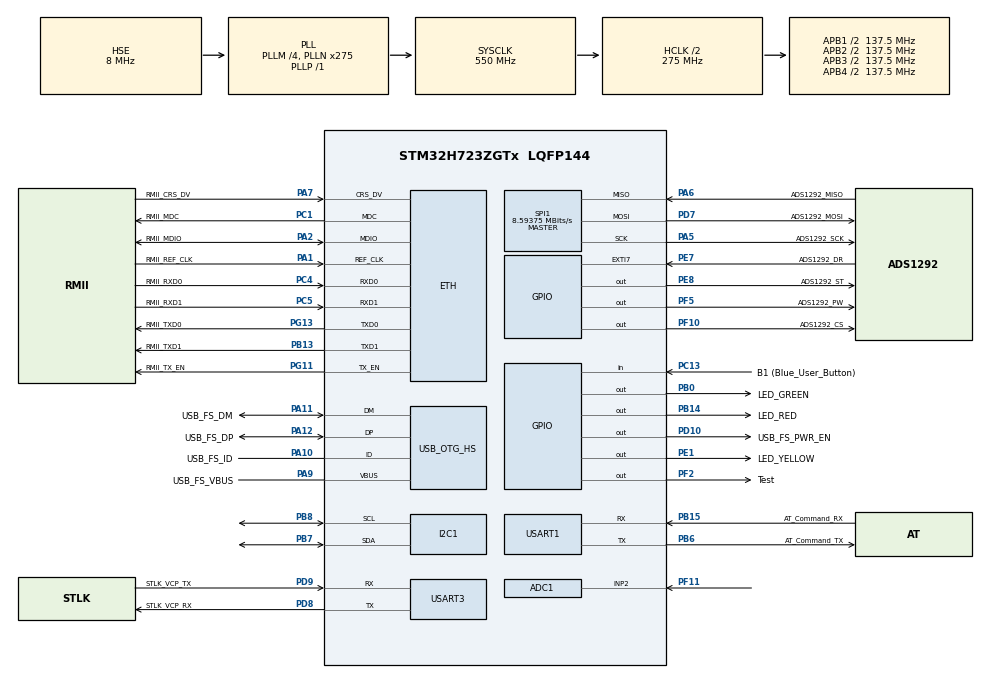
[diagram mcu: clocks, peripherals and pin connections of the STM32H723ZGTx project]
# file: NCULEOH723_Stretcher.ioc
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ADC1.Channel-0\#ChannelRegularConversion=ADC_CHANNEL_2
ADC1.NbrOfConversionFlag=1
ADC1.OffsetNumber-0\#ChannelRegularConversion=ADC_OFFSET_NONE
ADC1.OffsetSignedSaturation-0\#ChannelRegularConversion=DISABLE
ADC1.Rank-0\#ChannelRegularConversion=1
ADC1.SamplingTime-0\#ChannelRegularConversion=ADC_SAMPLETIME_1CYCLE_5
ADC1.master=1
Dma.Request0=SPI1_RX
Dma.Request1=SPI1_TX
Dma.Request2=USART1_TX
Dma.Request3=USART1_RX
Dma.SPI1_RX.0.Direction=DMA_PERIPH_TO_MEMORY
Dma.SPI1_RX.0.EventEnable=DISABLE
Dma.SPI1_RX.0.FIFOMode=DMA_FIFOMODE_DISABLE
Dma.SPI1_RX.0.Instance=DMA1_Stream0
Dma.SPI1_RX.0.MemDataAlignment=DMA_MDATAALIGN_BYTE
Dma.SPI1_RX.0.MemInc=DMA_MINC_ENABLE
Dma.SPI1_RX.0.Mode=DMA_NORMAL
Dma.SPI1_RX.0.PeriphDataAlignment=DMA_PDATAALIGN_BYTE
Dma.SPI1_RX.0.PeriphInc=DMA_PINC_DISABLE
Dma.SPI1_RX.0.Polarity=HAL_DMAMUX_REQ_GEN_RISING
Dma.SPI1_RX.0.Priority=DMA_PRIORITY_LOW
Dma.SPI1_RX.0.RequestNumber=1
Dma.SPI1_RX.0.SignalID=NONE
Dma.SPI1_RX.0.SyncEnable=DISABLE
Dma.SPI1_RX.0.SyncPolarity=HAL_DMAMUX_SYNC_NO_EVENT
Dma.SPI1_RX.0.SyncRequestNumber=1
Dma.SPI1_RX.0.SyncSignalID=NONE
Dma.SPI1_TX.1.Direction=DMA_MEMORY_TO_PERIPH
Dma.SPI1_TX.1.EventEnable=DISABLE
Dma.SPI1_TX.1.FIFOMode=DMA_FIFOMODE_DISABLE
Dma.SPI1_TX.1.Instance=DMA1_Stream1
Dma.SPI1_TX.1.MemDataAlignment=DMA_MDATAALIGN_BYTE
Dma.SPI1_TX.1.MemInc=DMA_MINC_ENABLE
Dma.SPI1_TX.1.Mode=DMA_NORMAL
Dma.SPI1_TX.1.PeriphDataAlignment=DMA_PDATAALIGN_BYTE
Dma.SPI1_TX.1.PeriphInc=DMA_PINC_DISABLE
Dma.SPI1_TX.1.Polarity=HAL_DMAMUX_REQ_GEN_RISING
Dma.SPI1_TX.1.Priority=DMA_PRIORITY_LOW
Dma.SPI1_TX.1.RequestNumber=1
Dma.SPI1_TX.1.SignalID=NONE
Dma.SPI1_TX.1.SyncEnable=DISABLE
Dma.SPI1_TX.1.SyncPolarity=HAL_DMAMUX_SYNC_NO_EVENT
Dma.SPI1_TX.1.SyncRequestNumber=1
Dma.SPI1_TX.1.SyncSignalID=NONE
Dma.USART1_RX.3.Direction=DMA_PERIPH_TO_MEMORY
Dma.USART1_RX.3.EventEnable=DISABLE
Dma.USART1_RX.3.FIFOMode=DMA_FIFOMODE_DISABLE
Dma.USART1_RX.3.Instance=DMA1_Stream3
Dma.USART1_RX.3.MemDataAlignment=DMA_MDATAALIGN_BYTE
Dma.USART1_RX.3.MemInc=DMA_MINC_ENABLE
Dma.USART1_RX.3.Mode=DMA_NORMAL
Dma.USART1_RX.3.PeriphDataAlignment=DMA_PDATAALIGN_BYTE
Dma.USART1_RX.3.PeriphInc=DMA_PINC_DISABLE
Dma.USART1_RX.3.Polarity=HAL_DMAMUX_REQ_GEN_RISING
Dma.USART1_RX.3.Priority=DMA_PRIORITY_LOW
Dma.USART1_RX.3.RequestNumber=1
Dma.USART1_RX.3.SignalID=NONE
Dma.USART1_RX.3.SyncEnable=DISABLE
Dma.USART1_RX.3.SyncPolarity=HAL_DMAMUX_SYNC_NO_EVENT
Dma.USART1_RX.3.SyncRequestNumber=1
Dma.USART1_RX.3.SyncSignalID=NONE
Dma.USART1_TX.2.Direction=DMA_MEMORY_TO_PERIPH
Dma.USART1_TX.2.EventEnable=DISABLE
Dma.USART1_TX.2.FIFOMode=DMA_FIFOMODE_DISABLE
Dma.USART1_TX.2.Instance=DMA1_Stream2
Dma.USART1_TX.2.MemDataAlignment=DMA_MDATAALIGN_BYTE
Dma.USART1_TX.2.MemInc=DMA_MINC_ENABLE
Dma.USART1_TX.2.Mode=DMA_NORMAL
Dma.USART1_TX.2.PeriphDataAlignment=DMA_PDATAALIGN_BYTE
Dma.USART1_TX.2.PeriphInc=DMA_PINC_DISABLE
Dma.USART1_TX.2.Polarity=HAL_DMAMUX_REQ_GEN_RISING
Dma.USART1_TX.2.Priority=DMA_PRIORITY_LOW
Dma.USART1_TX.2.RequestNumber=1
Dma.USART1_TX.2.SignalID=NONE
Dma.USART1_TX.2.SyncEnable=DISABLE
Dma.USART1_TX.2.SyncPolarity=HAL_DMAMUX_SYNC_NO_EVENT
Dma.USART1_TX.2.SyncRequestNumber=1
Dma.USART1_TX.2.SyncSignalID=NONE
ETH.MediaInterface=HAL_ETH_RMII_MODE
FREERTOS.Tasks01=defaultTask,0,128,StartDefaultTask,Default,NULL,Dynamic,NULL,NULL
I2C1.Timing=0x60404E72
Mcu.Family=STM32H7
Mcu.Name=STM32H723ZGTx
Mcu.Package=LQFP144
NVIC.DMA1_Stream0_IRQn=true\:5\:0\:false\:false\:true\:true\:false\:true\:true
NVIC.DMA1_Stream1_IRQn=true\:5\:0\:false\:false\:true\:true\:false\:true\:true
NVIC.DMA1_Stream2_IRQn=true\:5\:0\:false\:false\:true\:true\:false\:true\:true
NVIC.DMA1_Stream3_IRQn=true\:5\:0\:false\:false\:true\:true\:false\:true\:true
NVIC.EXTI9_5_IRQn=true\:5\:0\:false\:false\:true\:true\:true\:true\:true
NVIC.PriorityGroup=NVIC_PRIORITYGROUP_4
NVIC.SPI1_IRQn=true\:5\:0\:false\:false\:true\:true\:false\:true\:true
NVIC.TIM1_UP_IRQn=true\:15\:0\:false\:false\:true\:false\:false\:true\:true
NVIC.TimeBase=TIM1_UP_IRQn
NVIC.TimeBaseIP=TIM1
NVIC.USART1_IRQn=true\:5\:0\:false\:false\:true\:true\:true\:true\:true
NVIC.USART3_IRQn=true\:5\:0\:false\:false\:true\:true\:true\:true\:true
PA1.GPIO_Label=RMII_REF_CLK
PA1.Mode=RMII
PA1.Signal=ETH_REF_CLK
PA10.GPIO_Label=USB_FS_ID
PA10.Mode=OTG/Dual-Role-Device-FS
PA10.Signal=USB_OTG_HS_ID
PA11.GPIO_Label=USB_FS_DM
PA11.Mode=OTG/Dual-Role-Device-FS
PA11.Signal=USB_OTG_HS_DM
PA12.GPIO_Label=USB_FS_DP
PA12.Mode=OTG/Dual-Role-Device-FS
PA12.Signal=USB_OTG_HS_DP
PA13(JTMS/SWDIO).GPIO_Label=SWDIO
PA13(JTMS/SWDIO).Mode=Trace_Asynchronous_SW
PA13(JTMS/SWDIO).Signal=DEBUG_JTMS-SWDIO
PA14(JTCK/SWCLK).GPIO_Label=SWCLK
PA14(JTCK/SWCLK).Mode=Trace_Asynchronous_SW
PA14(JTCK/SWCLK).Signal=DEBUG_JTCK-SWCLK
PA2.GPIO_Label=RMII_MDIO
PA2.Mode=RMII
PA2.Signal=ETH_MDIO
PA5.GPIO_Label=ADS1292_SCK
PA5.Mode=Full_Duplex_Master
PA5.Signal=SPI1_SCK
PA6.GPIO_Label=ADS1292_MISO
PA6.Mode=Full_Duplex_Master
PA6.Signal=SPI1_MISO
PA7.GPIO_Label=RMII_CRS_DV
PA7.Mode=RMII
PA7.Signal=ETH_CRS_DV
PA9.GPIO_Label=USB_FS_VBUS
PA9.Mode=Activate_VBUS_FS
PA9.Signal=USB_OTG_HS_VBUS
PB0.GPIO_Label=LED_GREEN
PB0.Signal=GPIO_Output
PB13.GPIO_Label=RMII_TXD1
PB13.Mode=RMII
PB13.Signal=ETH_TXD1
PB14.GPIO_Label=LED_RED
PB14.Signal=GPIO_Output
PB15.GPIO_Label=AT_Command_RX
PB15.Mode=Asynchronous
PB15.Signal=USART1_RX
PB3(JTDO/TRACESWO).GPIO_Label=SWO
PB3(JTDO/TRACESWO).Mode=Trace_Asynchronous_SW
PB3(JTDO/TRACESWO).Signal=DEBUG_JTDO-SWO
PB6.GPIO_Label=AT_Command_TX
PB6.Mode=Asynchronous
PB6.Signal=USART1_TX
PB7.Mode=I2C
PB7.Signal=I2C1_SDA
PB8.Mode=I2C
PB8.Signal=I2C1_SCL
PC1.GPIO_Label=RMII_MDC
PC1.Mode=RMII
PC1.Signal=ETH_MDC
PC13.GPIO_Label=B1 (Blue_User_Button)
PC13.Signal=GPIO_Input
PC14-OSC32_IN.Mode=LSE-External-Oscillator
PC14-OSC32_IN.Signal=RCC_OSC32_IN
PC15-OSC32_OUT.Mode=LSE-External-Oscillator
PC15-OSC32_OUT.Signal=RCC_OSC32_OUT
PC4.GPIO_Label=RMII_RXD0
PC4.Mode=RMII
PC4.Signal=ETH_RXD0
PC5.GPIO_Label=RMII_RXD1
PC5.Mode=RMII
PC5.Signal=ETH_RXD1
PD10.GPIO_Label=USB_FS_PWR_EN
PD10.Signal=GPIO_Output
PD7.GPIO_Label=ADS1292_MOSI
PD7.Mode=Full_Duplex_Master
PD7.Signal=SPI1_MOSI
PD8.GPIO_Label=STLK_VCP_RX
PD8.Mode=Asynchronous
PD8.Signal=USART3_TX
PD9.GPIO_Label=STLK_VCP_TX
PD9.Mode=Asynchronous
PD9.Signal=USART3_RX
PE1.GPIO_Label=LED_YELLOW
PE1.Signal=GPIO_Output
PE7.GPIO_Label=ADS1292_DR
PE7.Signal=GPXTI7
PE8.GPIO_Label=ADS1292_ST
PE8.Signal=GPIO_Output
PF10.GPIO_Label=ADS1292_CS
PF10.Signal=GPIO_Output
PF11.Mode=IN2-Single-Ended
PF11.Signal=ADC1_INP2
PF2.GPIO_Label=Test
PF2.Signal=GPIO_Output
PF2.Stacked=true
PF5.GPIO_Label=ADS1292_PW
PF5.Signal=GPIO_Output
PG11.GPIO_Label=RMII_TX_EN
PG11.Mode=RMII
PG11.Signal=ETH_TX_EN
PG13.GPIO_Label=RMII_TXD0
PG13.Mode=RMII
PG13.Signal=ETH_TXD0
PH0-OSC_IN.GPIO_Label=MCO
PH0-OSC_IN.Mode=HSE-External-Clock-Source
PH0-OSC_IN.Signal=RCC_OSC_IN
PH1-OSC_OUT.Signal=RCC_OSC_OUT
ProjectManager.HeapSize=0x200
ProjectManager.StackSize=0x400
ProjectManager.TargetToolchain=CMake
RCC.ADCFreq_Value=96000000
RCC.APB1Freq_Value=137500000
RCC.APB2Freq_Value=137500000
RCC.APB3Freq_Value=137500000
RCC.APB4Freq_Value=137500000
RCC.CortexFreq_Value=550000000
RCC.D1PPRE=RCC_APB3_DIV2
RCC.D2PPRE1=RCC_APB1_DIV2
RCC.D2PPRE2=RCC_APB2_DIV2
RCC.D3PPRE=RCC_APB4_DIV2
RCC.DIVM1=4
RCC.DIVM2=1
RCC.DIVN1=275
RCC.DIVN2=24
RCC.DIVP1=1
RCC.DIVQ1=4
RCC.HCLKFreq_Value=275000000
RCC.HPRE=RCC_HCLK_DIV2
RCC.HSE_VALUE=8000000
RCC.PLLFRACN=0
RCC.PLLSourceVirtual=RCC_PLLSOURCE_HSE
RCC.SYSCLKFreq_VALUE=550000000
RCC.SYSCLKSource=RCC_SYSCLKSOURCE_PLLCLK
RCC.USBCLockSelection=RCC_USBCLKSOURCE_HSI48
RCC.USBFreq_Value=48000000
SPI1.BaudRatePrescaler=SPI_BAUDRATEPRESCALER_16
SPI1.CLKPhase=SPI_PHASE_2EDGE
SPI1.CalculateBaudRate=8.59375 MBits/s
SPI1.DataSize=SPI_DATASIZE_8BIT
SPI1.Direction=SPI_DIRECTION_2LINES
SPI1.Mode=SPI_MODE_MASTER
SPI1.VirtualType=VM_MASTER
USART1.VirtualMode-Asynchronous=VM_ASYNC
USART3.VirtualMode-Asynchronous=VM_ASYNC
VP_FREERTOS_VS_CMSIS_V1.Mode=CMSIS_V1
VP_SYS_VS_tim1.Mode=TIM1
board=NUCLEO-H723ZG

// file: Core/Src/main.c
/* USER CODE BEGIN Header */

/* USER CODE END Header */
#include "main.h"
#include "cmsis_os.h"
#include "adc.h"
#include "dma.h"
#include "eth.h"
#include "i2c.h"
#include "spi.h"
#include "usart.h"
#include "usb_otg.h"
#include "gpio.h"

/* USER CODE BEGIN Includes */

#include "LMT70.h"
#include "MAX30102.h"
#include "blood.h"
#include "FreeRTOS.h"
#include "arm_math.h"
#include "ADS1292.h"
#include "Filtering.h"
#include "retarget.h"

/* USER CODE END Includes */

/* USER CODE BEGIN PTD */
#define MEDIAN_THRESHOLD 60000
/* USER CODE END PTD */

/* USER CODE BEGIN PV */

SemaphoreHandle_t  dr_semaphore = NULL;//ADS1292的二值信号量，当ADS1292触发DR引脚的EXTI中断被释放
QueueHandle_t      x_queue_ecg_data; //消息队列，用于处理ecg信号的采集和处理
TaskHandle_t Main_TaskHandle;
TaskHandle_t Blood_TaskHandle;
TaskHandle_t LMT70_TaskHandle;
TaskHandle_t ADS1292_TaskHandle;
TaskHandle_t Filtering_TaskHandle;

/* USER CODE END PV */

void SystemClock_Config(void);
void MX_FREERTOS_Init(void);
/* USER CODE BEGIN PFP */

void main_task(void *pvParameters);
void blood_task(void *pvParameters);
void lmt70_task(void *pvParameters);
void ads1292_task(void *pvParameters);
void filtering_task(void *pvParameters);

void bubble_sort(float32_t arr[], int n) {
  for (int i = 0; i < n - 1; i++) {
    for (int j = 0; j < n - 1 - i; j++) {
      if (arr[j] > arr[j + 1]) {
        // 交换 arr[j] 和 arr[j + 1]
        float32_t temp = arr[j];
        arr[j] = arr[j + 1];
        arr[j + 1] = temp;
      }
    }
  }
}

/* USER CODE END PFP */

/* USER CODE BEGIN 0 */
body_condition_t body_condition;
/* USER CODE END 0 */

int main(void)
{

  /* MCU Configuration--------------------------------------------------------*/

  /* Reset of all peripherals, Initializes the Flash interface and the Systick. */
  HAL_Init();

  /* Configure the system clock */
  SystemClock_Config();

  /* Initialize all configured peripherals */
  MX_GPIO_Init();
  MX_DMA_Init();
  MX_USART3_UART_Init();
  MX_USB_OTG_HS_USB_Init();
  MX_USART1_UART_Init();
  MX_ADC1_Init();
  MX_I2C1_Init();
  MX_ETH_Init();
  MX_SPI1_Init();
  /* USER CODE BEGIN 2 */
  HAL_NVIC_DisableIRQ(EXTI9_5_IRQn);//首先应该先失能EXTI中断
  RetargetInit(&huart3);//重定向串口
  dr_semaphore = xSemaphoreCreateBinary();//创建二值信号量
  x_queue_ecg_data = xQueueCreate(256, sizeof(uint32_t));//创建队列

   xTaskCreate(blood_task,"Blood Task",512,NULL,3,&Blood_TaskHandle);
   xTaskCreate(lmt70_task,"LMT70_Task",512,NULL,3,&LMT70_TaskHandle);
  xTaskCreate(ads1292_task,"ADS1292 Task",1024,NULL,3,&ADS1292_TaskHandle);
  // xTaskCreate(filtering_task,"Filtering Task",512,NULL,3,&Filtering_TaskHandle);

  /* USER CODE END 2 */

  /* Call init function for freertos objects (in cmsis_os2.c) */
  MX_FREERTOS_Init();

  /* Start scheduler */
  osKernelStart();

  /* We should never get here as control is now taken by the scheduler */

  /* Infinite loop */
  while (1)
  {

  }
}

void SystemClock_Config(void)
{
  RCC_OscInitTypeDef RCC_OscInitStruct = {0};
  RCC_ClkInitTypeDef RCC_ClkInitStruct = {0};

  /** Supply configuration update enable
  */
  HAL_PWREx_ConfigSupply(PWR_LDO_SUPPLY);

  /** Configure the main internal regulator output voltage
  */
  __HAL_PWR_VOLTAGESCALING_CONFIG(PWR_REGULATOR_VOLTAGE_SCALE0);

  while(!__HAL_PWR_GET_FLAG(PWR_FLAG_VOSRDY)) {}

  /** Initializes the RCC Oscillators according to the specified parameters
  * in the RCC_OscInitTypeDef structure.
  */
  RCC_OscInitStruct.OscillatorType = RCC_OSCILLATORTYPE_HSI48|RCC_OSCILLATORTYPE_HSE;
  RCC_OscInitStruct.HSEState = RCC_HSE_BYPASS;
  RCC_OscInitStruct.HSI48State = RCC_HSI48_ON;
  RCC_OscInitStruct.PLL.PLLState = RCC_PLL_ON;
  RCC_OscInitStruct.PLL.PLLSource = RCC_PLLSOURCE_HSE;
  RCC_OscInitStruct.PLL.PLLM = 4;
  RCC_OscInitStruct.PLL.PLLN = 275;
  RCC_OscInitStruct.PLL.PLLP = 1;
  RCC_OscInitStruct.PLL.PLLQ = 4;
  RCC_OscInitStruct.PLL.PLLR = 2;
  RCC_OscInitStruct.PLL.PLLRGE = RCC_PLL1VCIRANGE_1;
  RCC_OscInitStruct.PLL.PLLVCOSEL = RCC_PLL1VCOWIDE;
  RCC_OscInitStruct.PLL.PLLFRACN = 0;
  if (HAL_RCC_OscConfig(&RCC_OscInitStruct) != HAL_OK)
  {
    Error_Handler();
  }

  /** Initializes the CPU, AHB and APB buses clocks
  */
  RCC_ClkInitStruct.ClockType = RCC_CLOCKTYPE_HCLK|RCC_CLOCKTYPE_SYSCLK
                              |RCC_CLOCKTYPE_PCLK1|RCC_CLOCKTYPE_PCLK2
                              |RCC_CLOCKTYPE_D3PCLK1|RCC_CLOCKTYPE_D1PCLK1;
  RCC_ClkInitStruct.SYSCLKSource = RCC_SYSCLKSOURCE_PLLCLK;
  RCC_ClkInitStruct.SYSCLKDivider = RCC_SYSCLK_DIV1;
  RCC_ClkInitStruct.AHBCLKDivider = RCC_HCLK_DIV2;
  RCC_ClkInitStruct.APB3CLKDivider = RCC_APB3_DIV2;
  RCC_ClkInitStruct.APB1CLKDivider = RCC_APB1_DIV2;
  RCC_ClkInitStruct.APB2CLKDivider = RCC_APB2_DIV2;
  RCC_ClkInitStruct.APB4CLKDivider = RCC_APB4_DIV2;

  if (HAL_RCC_ClockConfig(&RCC_ClkInitStruct, FLASH_LATENCY_3) != HAL_OK)
  {
    Error_Handler();
  }
}

/* USER CODE BEGIN 4 */

void main_task(void *pvParameters)
{

  for (;;) {

  }
}

void blood_task(void *pvParameters)
{
  vTaskDelay(3000);
  Max30102_reset();     //重启max30102
  MAX30102_Config();    //配置max30102

  for (;;)
  {
      body_condition.blood_ox = blood_Loop();
    vTaskDelay(100);
  }
}

void lmt70_task(void *pvParameters)
{
  osDelay(3000);
  lmt70_calibration();
  for (;;)
  {
    body_condition.body_temperature = lmt70_get_temperature();
    vTaskDelay(50);
  }

}

void ads1292_task(void *pvParameters)
{
  if(ADS1292_PowerOnInit() == 1)//初始化成功点亮LED
  {
    HAL_GPIO_TogglePin(LED_GREEN_GPIO_Port,LED_GREEN_Pin);
  }

  HAL_NVIC_EnableIRQ(EXTI9_5_IRQn);//使能EXTI中断
  uint32_t blockSize = Block_Size;
  uint32_t numBlocks = Samples_Number/Block_Size;
  float32_t firState2[Block_Size + NumTaps - 1];

  arm_fir_instance_f32 ADS1292;
  extern const float32_t BPF_5Hz_40Hz[NumTaps];
  float32_t ecg_process_buffer[10];
  float32_t ecg_processed_buffer[10];
  uint8_t ecg_process_index = 0;
  float32_t mid;
  arm_fir_init_f32(&ADS1292, NumTaps, (float32_t *)BPF_5Hz_40Hz, firState2, blockSize);//初始化滤波器
  char TEST_Buffer[128];
  uint8_t read_Index = 0;
  uint8_t read_data[9];
  uint32_t ch1_data;       //ADS1292通道1数据
  uint32_t ch2_data;       //ADS1292通道2数据
  float32_t ECG_data_raw;    // 滤波前
  float32_t ECG_data_filtered;  // 滤波后
  for (;;) {

    // 等待二值信号量
    if (xSemaphoreTake(dr_semaphore, portMAX_DELAY) == pdTRUE)
    {
      // 成功获取到信号量后，执行相应操作
      printf("Task1: Received the semaphore.\n");
      ADS1292_Read_Data(read_data);
      ch1_data = 0;
      ch2_data = 0;
      ch1_data |= (uint32_t) read_data[3] << 16;
      ch1_data |= (uint32_t) read_data[4] << 8;
      ch1_data |= (uint32_t) read_data[5] << 0;
      ch2_data |= (uint32_t) read_data[6] << 16;
      ch2_data |= (uint32_t) read_data[7] << 8;
      ch2_data |= (uint32_t) read_data[8] << 0;
      ECG_data_raw = (float32_t) (ch2_data ^ 0x800000); //赋值到缓冲区中
      ecg_process_buffer[ecg_process_index] = ECG_data_raw;

      ecg_process_index++;
      if(ecg_process_index >= 9)
      {
        ecg_process_index =0;//重新计数以便下次接收
        //循环遍历赋值
        for(int i=0;i<10;i++)
        {
          ecg_processed_buffer[i] = ecg_process_buffer[i];//暂时用了一次
        }
        //对数组进行排序
        bubble_sort(ecg_processed_buffer, 10);//冒泡排序最大的数字在末尾
        mid = (ecg_processed_buffer[4]+ecg_processed_buffer[5])/2; //计算中值

        for(int i=0;i<10;i++)//循环遍历数组中的元素，利用中值来舍弃异常点，
        {
          //这里直接对原来的数组进行处理哦，因为要保证波形
          if(fabs(ecg_process_buffer[i]-mid) > MEDIAN_THRESHOLD)
          {
            ecg_process_buffer[i] = mid;
          }
          ecg_processed_buffer[i] = ecg_process_buffer[i];
        }
      }
      ECG_data_raw = ecg_processed_buffer[ecg_process_index];
      arm_fir_f32(&ADS1292, &ECG_data_raw, &ECG_data_filtered, blockSize);
      sprintf(TEST_Buffer,"A=%d,B=%d,C=%d\r\n",(int)ECG_data_filtered,(int)(body_condition.blood_ox*10),(int)(body_condition.body_temperature*10));
      HAL_UART_Transmit(&huart1,(uint8_t*)TEST_Buffer,strlen(TEST_Buffer),1000);

      // xQueueSend(x_queue_ecg_data, &ECG_data_raw, portMAX_DELAY);//发送数据到消息队列中

    }
  }

}

void filtering_task(void *pvParameters)
{
  uint32_t blockSize = Block_Size;
  uint32_t numBlocks = Samples_Number/Block_Size;
  float32_t firState2[Block_Size + NumTaps - 1];

  arm_fir_instance_f32 ADS1292;
  extern const float32_t BPF_5Hz_40Hz[NumTaps];
  float32_t ECG_data_raw;    // 滤波前
  float32_t ECG_data_filtered;  // 滤波后
  float32_t ecg_process_buffer[10];
  float32_t ecg_processed_buffer[10];
  uint8_t ecg_process_index = 0;
  float32_t mid;
  arm_fir_init_f32(&ADS1292, NumTaps, (float32_t *)BPF_5Hz_40Hz, firState2, blockSize);//初始化滤波器
  char TEST_Buffer[128];
  for(;;) {
    if(xQueueReceive(x_queue_ecg_data, &ECG_data_raw, portMAX_DELAY) == pdTRUE) {

      ecg_process_buffer[ecg_process_index] = ECG_data_raw;

      ecg_process_index++;
      if(ecg_process_index >= 9)
      {
        ecg_process_index =0;//重新计数以便下次接收
        //循环遍历赋值
        for(int i=0;i<10;i++)
        {
          ecg_processed_buffer[i] = ecg_process_buffer[i];//暂时用了一次
        }
        //对数组进行排序
        bubble_sort(ecg_processed_buffer, 10);//冒泡排序最大的数字在末尾
        mid = (ecg_processed_buffer[4]+ecg_processed_buffer[5])/2; //计算中值

        for(int i=0;i<10;i++)//循环遍历数组中的元素，利用中值来舍弃异常点，
        {
          //这里直接对原来的数组进行处理哦，因为要保证波形
          if(fabs(ecg_process_buffer[i]-mid) > MEDIAN_THRESHOLD)
          {
            ecg_process_buffer[i] = mid;
          }
          ecg_processed_buffer[i] = ecg_process_buffer[i];
        }
      }
      ECG_data_raw = ecg_processed_buffer[ecg_process_index];
      arm_fir_f32(&ADS1292, &ECG_data_raw, &ECG_data_filtered, blockSize);
      sprintf(TEST_Buffer,"A=%d,B=%d,C=%d\r\n",(int)ECG_data_filtered,(int)(body_condition.blood_ox*10),(int)(body_condition.body_temperature*10));
      HAL_UART_Transmit(&huart1,(uint8_t*)TEST_Buffer,strlen(TEST_Buffer),1000);

    }
  }
}

void HAL_GPIO_EXTI_Callback(uint16_t GPIO_Pin)
{
  /* Prevent unused argument(s) compilation warning */
  UNUSED(GPIO_Pin);
  if(GPIO_Pin == ADS1292_DR_Pin)
  {

    //释放信号量
    xSemaphoreGiveFromISR(dr_semaphore, pdFALSE);
  }

}

/* USER CODE END 4 */

void HAL_TIM_PeriodElapsedCallback(TIM_HandleTypeDef *htim)
{
  if (htim->Instance == TIM1) {
    HAL_IncTick();
  }
}

void Error_Handler(void)
{
  __disable_irq();
  while (1)
  {
  }
}
